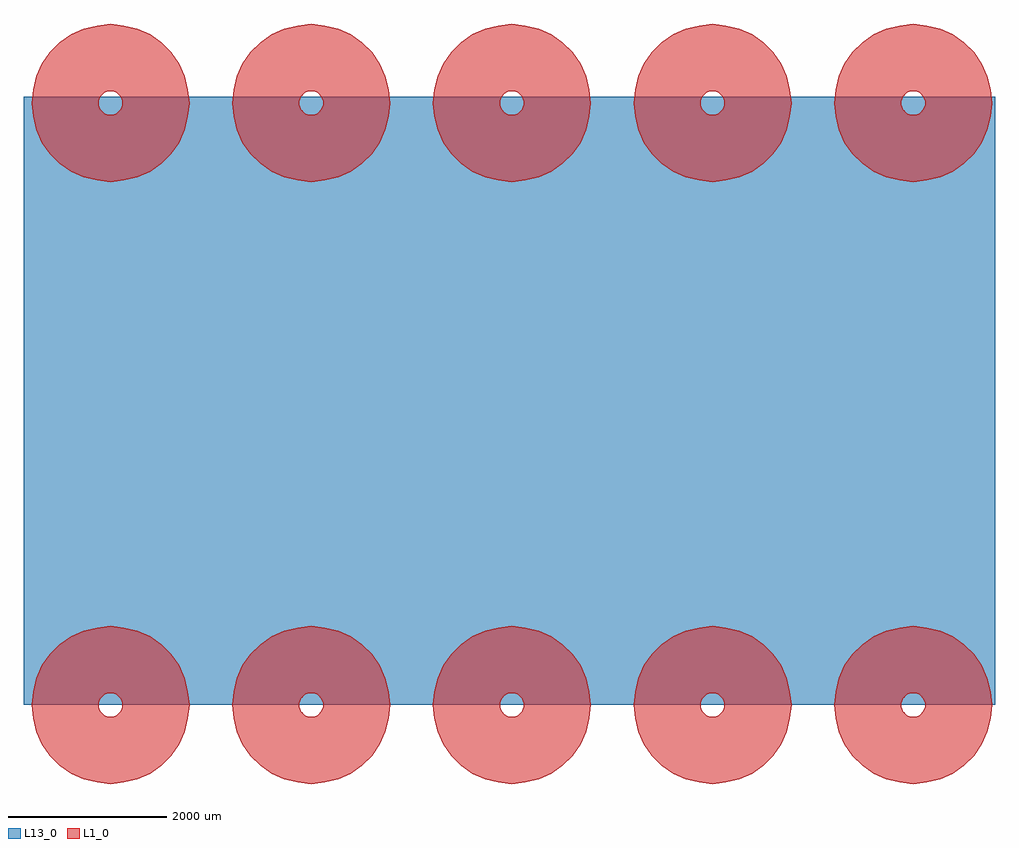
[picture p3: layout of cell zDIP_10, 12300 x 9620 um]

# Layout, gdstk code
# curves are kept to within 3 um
import gdstk
lib = gdstk.Library(unit=1e-6, precision=1e-09)
def R(c, l, rs):  # rectangles x0, y0, x1, y1
    for r in rs: c.add(gdstk.rectangle(r[:2], r[2:], *l))
def P(c, l, *ps):  # polygons
    for p in ps: c.add(gdstk.Polygon(p, *l))
L1_0 = (1, 0)
L13_0 = (13, 0)

zdip_10 = lib.new_cell('zDIP_10')
P(zdip_10, L1_0, [(5080,-150),(5080,-1000),(5250,-980),(5420,-940),(5580,-870),(5720,-770),(5850,-640),(5950,-500),(6020,-340),(6060,-170),(6080,0),(6060,170),(6020,340),(5950,500),(5850,640),(5720,770),(5580,870),(5420,940),(5250,980),(5080,1000),(4910,980),(4740,940),(4580,870),(4440,770),(4310,640),(4210,500),(4140,340),(4100,170),(4080,0),(4100,-170),(4140,-340),(4210,-500),(4310,-640),(4440,-770),(4580,-870),(4740,-940),(4910,-980),(5080,-1000),(5080,-150),(5050,-150),(5000,-130),(4950,-80),(4930,-30),(4930,30),(4950,80),(5000,130),(5050,150),(5110,150),(5160,130),(5210,80),(5230,30),(5230,-30),(5210,-80),(5160,-130),(5110,-150)],
  [(7620,7470),(7620,6620),(7790,6640),(7960,6680),(8120,6750),(8260,6850),(8390,6980),(8490,7120),(8560,7280),(8600,7450),(8620,7620),(8600,7790),(8560,7960),(8490,8120),(8390,8260),(8260,8390),(8120,8490),(7960,8560),(7790,8600),(7620,8620),(7450,8600),(7280,8560),(7120,8490),(6980,8390),(6850,8260),(6750,8120),(6680,7960),(6640,7790),(6620,7620),(6640,7450),(6680,7280),(6750,7120),(6850,6980),(6980,6850),(7120,6750),(7280,6680),(7450,6640),(7620,6620),(7620,7470),(7590,7470),(7540,7490),(7490,7540),(7470,7590),(7470,7650),(7490,7700),(7540,7750),(7590,7770),(7650,7770),(7700,7750),(7750,7700),(7770,7650),(7770,7590),(7750,7540),(7700,7490),(7650,7470)],
  [(10160,7470),(10160,6620),(10330,6640),(10500,6680),(10660,6750),(10800,6850),(10930,6980),(11030,7120),(11100,7280),(11140,7450),(11160,7620),(11140,7790),(11100,7960),(11030,8120),(10930,8260),(10800,8390),(10660,8490),(10500,8560),(10330,8600),(10160,8620),(9990,8600),(9820,8560),(9660,8490),(9520,8390),(9390,8260),(9290,8120),(9220,7960),(9180,7790),(9160,7620),(9180,7450),(9220,7280),(9290,7120),(9390,6980),(9520,6850),(9660,6750),(9820,6680),(9990,6640),(10160,6620),(10160,7470),(10130,7470),(10080,7490),(10030,7540),(10010,7590),(10010,7650),(10030,7700),(10080,7750),(10130,7770),(10190,7770),(10240,7750),(10290,7700),(10310,7650),(10310,7590),(10290,7540),(10240,7490),(10190,7470)],
  [(2540,-150),(2540,-1000),(2710,-980),(2880,-940),(3040,-870),(3180,-770),(3310,-640),(3410,-500),(3480,-340),(3520,-170),(3540,0),(3520,170),(3480,340),(3410,500),(3310,640),(3180,770),(3040,870),(2880,940),(2710,980),(2540,1000),(2370,980),(2200,940),(2040,870),(1900,770),(1770,640),(1670,500),(1600,340),(1560,170),(1540,0),(1560,-170),(1600,-340),(1670,-500),(1770,-640),(1900,-770),(2040,-870),(2200,-940),(2370,-980),(2540,-1000),(2540,-150),(2510,-150),(2460,-130),(2410,-80),(2390,-30),(2390,30),(2410,80),(2460,130),(2510,150),(2570,150),(2620,130),(2670,80),(2690,30),(2690,-30),(2670,-80),(2620,-130),(2570,-150)],
  [(0,-150),(0,-1000),(170,-980),(340,-940),(500,-870),(640,-770),(770,-640),(870,-500),(940,-340),(980,-170),(1000,0),(980,170),(940,340),(870,500),(770,640),(640,770),(500,870),(340,940),(170,980),(0,1000),(-170,980),(-340,940),(-500,870),(-640,770),(-770,640),(-870,500),(-940,340),(-980,170),(-1000,0),(-980,-170),(-940,-340),(-870,-500),(-770,-640),(-640,-770),(-500,-870),(-340,-940),(-170,-980),(0,-1000),(0,-150),(-30,-150),(-80,-130),(-130,-80),(-150,-30),(-150,30),(-130,80),(-80,130),(-30,150),(30,150),(80,130),(130,80),(150,30),(150,-30),(130,-80),(80,-130),(30,-150)],
  [(2540,7470),(2540,6620),(2710,6640),(2880,6680),(3040,6750),(3180,6850),(3310,6980),(3410,7120),(3480,7280),(3520,7450),(3540,7620),(3520,7790),(3480,7960),(3410,8120),(3310,8260),(3180,8390),(3040,8490),(2880,8560),(2710,8600),(2540,8620),(2370,8600),(2200,8560),(2040,8490),(1900,8390),(1770,8260),(1670,8120),(1600,7960),(1560,7790),(1540,7620),(1560,7450),(1600,7280),(1670,7120),(1770,6980),(1900,6850),(2040,6750),(2200,6680),(2370,6640),(2540,6620),(2540,7470),(2510,7470),(2460,7490),(2410,7540),(2390,7590),(2390,7650),(2410,7700),(2460,7750),(2510,7770),(2570,7770),(2620,7750),(2670,7700),(2690,7650),(2690,7590),(2670,7540),(2620,7490),(2570,7470)],
  [(7620,-150),(7620,-1000),(7790,-980),(7960,-940),(8120,-870),(8260,-770),(8390,-640),(8490,-500),(8560,-340),(8600,-170),(8620,0),(8600,170),(8560,340),(8490,500),(8390,640),(8260,770),(8120,870),(7960,940),(7790,980),(7620,1000),(7450,980),(7280,940),(7120,870),(6980,770),(6850,640),(6750,500),(6680,340),(6640,170),(6620,0),(6640,-170),(6680,-340),(6750,-500),(6850,-640),(6980,-770),(7120,-870),(7280,-940),(7450,-980),(7620,-1000),(7620,-150),(7590,-150),(7540,-130),(7490,-80),(7470,-30),(7470,30),(7490,80),(7540,130),(7590,150),(7650,150),(7700,130),(7750,80),(7770,30),(7770,-30),(7750,-80),(7700,-130),(7650,-150)],
  [(5080,7470),(5080,6620),(5250,6640),(5420,6680),(5580,6750),(5720,6850),(5850,6980),(5950,7120),(6020,7280),(6060,7450),(6080,7620),(6060,7790),(6020,7960),(5950,8120),(5850,8260),(5720,8390),(5580,8490),(5420,8560),(5250,8600),(5080,8620),(4910,8600),(4740,8560),(4580,8490),(4440,8390),(4310,8260),(4210,8120),(4140,7960),(4100,7790),(4080,7620),(4100,7450),(4140,7280),(4210,7120),(4310,6980),(4440,6850),(4580,6750),(4740,6680),(4910,6640),(5080,6620),(5080,7470),(5050,7470),(5000,7490),(4950,7540),(4930,7590),(4930,7650),(4950,7700),(5000,7750),(5050,7770),(5110,7770),(5160,7750),(5210,7700),(5230,7650),(5230,7590),(5210,7540),(5160,7490),(5110,7470)],
  [(10160,-150),(10160,-1000),(10330,-980),(10500,-940),(10660,-870),(10800,-770),(10930,-640),(11030,-500),(11100,-340),(11140,-170),(11160,0),(11140,170),(11100,340),(11030,500),(10930,640),(10800,770),(10660,870),(10500,940),(10330,980),(10160,1000),(9990,980),(9820,940),(9660,870),(9520,770),(9390,640),(9290,500),(9220,340),(9180,170),(9160,0),(9180,-170),(9220,-340),(9290,-500),(9390,-640),(9520,-770),(9660,-870),(9820,-940),(9990,-980),(10160,-1000),(10160,-150),(10130,-150),(10080,-130),(10030,-80),(10010,-30),(10010,30),(10030,80),(10080,130),(10130,150),(10190,150),(10240,130),(10290,80),(10310,30),(10310,-30),(10290,-80),(10240,-130),(10190,-150)],
  [(0,7470),(0,6620),(170,6640),(340,6680),(500,6750),(640,6850),(770,6980),(870,7120),(940,7280),(980,7450),(1000,7620),(980,7790),(940,7960),(870,8120),(770,8260),(640,8390),(500,8490),(340,8560),(170,8600),(0,8620),(-170,8600),(-340,8560),(-500,8490),(-640,8390),(-770,8260),(-870,8120),(-940,7960),(-980,7790),(-1000,7620),(-980,7450),(-940,7280),(-870,7120),(-770,6980),(-640,6850),(-500,6750),(-340,6680),(-170,6640),(0,6620),(0,7470),(-30,7470),(-80,7490),(-130,7540),(-150,7590),(-150,7650),(-130,7700),(-80,7750),(-30,7770),(30,7770),(80,7750),(130,7700),(150,7650),(150,7590),(130,7540),(80,7490),(30,7470)])
R(zdip_10, L13_0, [(-1100,0,11200,7700)])

lib.write_gds('zDIP_10.gds')
